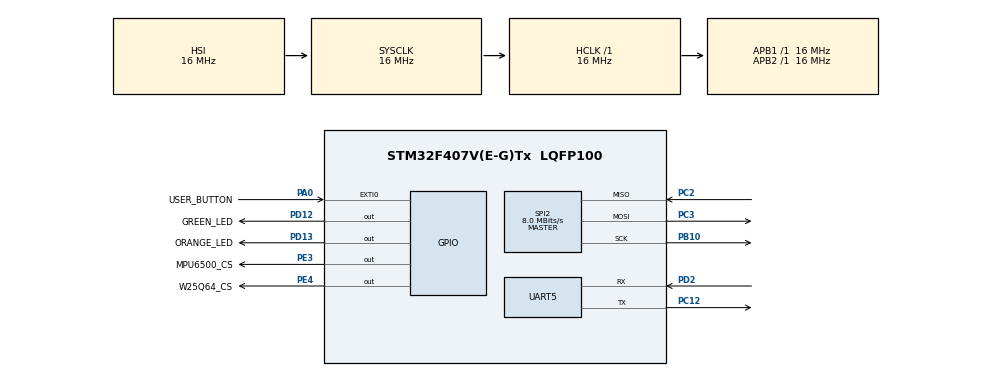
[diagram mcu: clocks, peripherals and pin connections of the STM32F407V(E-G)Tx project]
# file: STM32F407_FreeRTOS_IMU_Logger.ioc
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FREERTOS.Events01=systemHealthEvent,Dynamic,NULL
FREERTOS.Mutexes01=spiMutex,Dynamic,NULL,Available;uartMutex,Dynamic,NULL,Available
FREERTOS.Queues01=imuQueue,16,IMUData_t,0,Dynamic,NULL,NULL;loggerQueue,32,LoggerMessage_t,0,Dynamic,NULL,NULL
FREERTOS.Tasks01=heartbeatTask,8,128,StartHeartbeatTask,Default,NULL,Dynamic,NULL,NULL;imuTask,32,256,StartIMUTask,Default,NULL,Dynamic,NULL,NULL;printTask,24,256,StartPrintTask,Default,NULL,Dynamic,NULL,NULL;loggerTask,16,256,StartLoggerTask,Default,NULL,Dynamic,NULL,NULL;commandTask,24,256,StartCommandTask,Default,NULL,Dynamic,NULL,NULL;supervisorTask,40,256,StartSupervisorTask,Default,NULL,Dynamic,NULL,NULL
IWDG.Prescaler=IWDG_PRESCALER_256
IWDG.Reload=1249
Mcu.Family=STM32F4
Mcu.Name=STM32F407V(E-G)Tx
Mcu.Package=LQFP100
NVIC.EXTI0_IRQn=true\:5\:0\:false\:false\:true\:true\:true\:true\:true
NVIC.PriorityGroup=NVIC_PRIORITYGROUP_4
NVIC.SPI2_IRQn=true\:5\:0\:false\:false\:true\:true\:true\:true\:true
NVIC.TIM6_DAC_IRQn=true\:15\:0\:false\:false\:true\:false\:false\:true\:true
NVIC.TimeBase=TIM6_DAC_IRQn
NVIC.TimeBaseIP=TIM6
NVIC.UART5_IRQn=true\:5\:0\:false\:false\:true\:true\:true\:true\:true
PA0-WKUP.GPIO_Label=USER_BUTTON
PA0-WKUP.Signal=GPXTI0
PA13.Mode=Serial_Wire
PA13.Signal=SYS_JTMS-SWDIO
PA14.Mode=Serial_Wire
PA14.Signal=SYS_JTCK-SWCLK
PB10.Mode=Full_Duplex_Master
PB10.Signal=SPI2_SCK
PC12.Mode=Asynchronous
PC12.Signal=UART5_TX
PC2.Mode=Full_Duplex_Master
PC2.Signal=SPI2_MISO
PC3.Mode=Full_Duplex_Master
PC3.Signal=SPI2_MOSI
PD12.GPIO_Label=GREEN_LED
PD12.Signal=GPIO_Output
PD13.GPIO_Label=ORANGE_LED
PD13.Signal=GPIO_Output
PD2.Mode=Asynchronous
PD2.Signal=UART5_RX
PE3.GPIO_Label=MPU6500_CS
PE3.PinState=GPIO_PIN_SET
PE3.Signal=GPIO_Output
PE4.GPIO_Label=W25Q64_CS
PE4.PinState=GPIO_PIN_SET
PE4.Signal=GPIO_Output
ProjectManager.HeapSize=0x200
ProjectManager.StackSize=0x400
ProjectManager.TargetToolchain=MDK-ARM V5.32
RCC.AHBFreq_Value=16000000
RCC.APB1Freq_Value=16000000
RCC.APB2Freq_Value=16000000
RCC.CortexFreq_Value=16000000
RCC.HSE_VALUE=25000000
RCC.HSI_VALUE=16000000
RCC.LSE_VALUE=32768
RCC.SYSCLKFreq_VALUE=16000000
RCC.VCOOutputFreq_Value=192000000
SPI2.CLKPhase=SPI_PHASE_2EDGE
SPI2.CLKPolarity=SPI_POLARITY_HIGH
SPI2.CalculateBaudRate=8.0 MBits/s
SPI2.Direction=SPI_DIRECTION_2LINES
SPI2.Mode=SPI_MODE_MASTER
SPI2.VirtualType=VM_MASTER
UART5.VirtualMode=Asynchronous
VP_FREERTOS_VS_CMSIS_V2.Mode=CMSIS_V2
VP_IWDG_VS_IWDG.Mode=IWDG_Activate
VP_SYS_VS_tim6.Mode=TIM6
board=custom

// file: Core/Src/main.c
/* USER CODE BEGIN Header */
/**
  ******************************************************************************
  * @file           : main.c
  * @brief          : Main program body
  ******************************************************************************
  * @attention
  *
  * Copyright (c) 2026 STMicroelectronics.
  * All rights reserved.
  *
  * This software is licensed under terms that can be found in the LICENSE file
  * in the root directory of this software component.
  * If no LICENSE file comes with this software, it is provided AS-IS.
  *
  ******************************************************************************
  */
/* USER CODE END Header */
#include "main.h"
#include "cmsis_os.h"

/* USER CODE BEGIN Includes */
#include <stdio.h>
#include <string.h>
#include <stdlib.h>
/* USER CODE END Includes */

/* USER CODE BEGIN PTD */

typedef struct
{
  uint32_t sequence;
  uint32_t tick_ms;

  uint32_t print_dropped_total;
  uint32_t logger_dropped_total;
  uint32_t spi_error_total;

  int16_t accel_x;
  int16_t accel_y;
  int16_t accel_z;

} IMUData_t;

typedef enum
{
  LOGGER_MESSAGE_SAMPLE = 0,
  LOGGER_MESSAGE_DUMP,
  LOGGER_MESSAGE_CLEAR

} LoggerMessageType_t;

typedef struct
{
  LoggerMessageType_t type;

  union
  {
    IMUData_t sample;
    uint32_t dump_count;

  } payload;

} LoggerMessage_t;

typedef struct
{
  /* Magic number to distinguish valid data from erased flash memory. */
  uint32_t magic;

  uint32_t sequence;
  uint32_t tick_ms;

  uint32_t print_dropped_total;
  uint32_t logger_dropped_total;
  uint32_t spi_error_total;

  int16_t accel_x;
  int16_t accel_y;
  int16_t accel_z;

  /*
   * Padding to align struct to exactly 32 bytes.
   * Perfect fit for W25Q64_PAGE_SIZE: 256 Bytes / 32 Bytes = exactly 8 records per Page.
   */
  uint16_t reserved;

} FlashRecord_t;

/* USER CODE END PTD */

/* USER CODE BEGIN PD */

/* ====================================================================
 * W25Q64 Flash Hardware Specifications (From Datasheet)
 * - PAGE   : 256 Bytes (Maximum size for a single Write command)
 * - SECTOR : 4096 Bytes (Minimum size for a single Erase command)
 * ==================================================================== */
#define W25Q64_PAGE_SIZE              256U
#define W25Q64_SECTOR_SIZE            4096U

/* MPU6500 Registers & SPI */
#define WHO_AM_I_MPU6500              0x75
#define PWR_MGMT_1                    0x6B
#define ACCEL_XOUT_H                  0x3B
#define ACCEL_DATA_LEN                6U
#define ACCEL_SPI_LEN                 7U

#define MPU6500_CS_PORT               GPIOE
#define MPU6500_CS_PIN                GPIO_PIN_3

/* W25Q64 Commands & Status */
#define W25Q64_CMD_JEDEC_ID           0x9FU
#define W25Q64_CMD_WRITE_ENABLE       0x06U
#define W25Q64_CMD_READ_STATUS_1      0x05U
#define W25Q64_CMD_SECTOR_ERASE_4K    0x20U
#define W25Q64_CMD_PAGE_PROGRAM       0x02U
#define W25Q64_CMD_READ_DATA          0x03U

#define W25Q64_STATUS_BUSY            0x01U

/* W25Q64 Test Parameters */
#define W25Q64_TEST_ADDRESS           0x007FF000UL
#define W25Q64_TEST_DATA_LEN          8U

#define W25Q64_ERASE_TIMEOUT_MS       2000U
#define W25Q64_PROGRAM_TIMEOUT_MS     100U

/* ====================================================================
 * Logger System Configuration
 * ==================================================================== */
#define FLASH_RECORD_MAGIC            0x31554D49UL  /* "IMU1" */
#define FLASH_LOG_BASE_ADDRESS        0x000000UL    /* Start at Sector 0 */

/* 8-Sector test config: 8 * 4096 = 32KB total */
#define FLASH_LOG_SECTOR_COUNT        8U
#define FLASH_LOG_TOTAL_SIZE          (FLASH_LOG_SECTOR_COUNT * W25Q64_SECTOR_SIZE)

/* Max records: 32768 / 32 = 1024 records */
#define FLASH_LOG_MAX_RECORDS         (FLASH_LOG_TOTAL_SIZE / sizeof(FlashRecord_t))

/* Thread Flags for CommandTask */
#define COMMAND_BUTTON_FLAG           (1U << 0)  /* Event: PA0 physical button pressed */
#define COMMAND_UART_RX_FLAG          (1U << 1)  /* Event: UART command completely received */

/* Hardware & Buffer Settings */
#define BUTTON_DEBOUNCE_MS            200U       /* Button debounce time in milliseconds */
#define UART_COMMAND_BUFFER_SIZE      32U        /* Max character length for a UART command */

/* Task health flags */
#define HEALTH_IMU_FLAG          (1U << 0)
#define HEALTH_PRINT_FLAG        (1U << 1)
#define HEALTH_LOGGER_FLAG       (1U << 2)
#define HEALTH_COMMAND_FLAG      (1U << 3)
#define HEALTH_HEARTBEAT_FLAG    (1U << 4)

#define HEALTH_ALL_FLAGS         (HEALTH_IMU_FLAG | HEALTH_PRINT_FLAG | HEALTH_LOGGER_FLAG | HEALTH_COMMAND_FLAG | HEALTH_HEARTBEAT_FLAG)

#define TASK_IDLE_TIMEOUT_MS      500U
#define HEALTH_WAIT_TIMEOUT_MS    2500U

/* USER CODE END PD */

IWDG_HandleTypeDef hiwdg;

SPI_HandleTypeDef hspi2;

UART_HandleTypeDef huart5;

/* Definitions for heartbeatTask */
osThreadId_t heartbeatTaskHandle;
const osThreadAttr_t heartbeatTask_attributes = {
  .name = "heartbeatTask",
  .stack_size = 128 * 4,
  .priority = (osPriority_t) osPriorityLow,
};
/* Definitions for imuTask */
osThreadId_t imuTaskHandle;
const osThreadAttr_t imuTask_attributes = {
  .name = "imuTask",
  .stack_size = 256 * 4,
  .priority = (osPriority_t) osPriorityAboveNormal,
};
/* Definitions for printTask */
osThreadId_t printTaskHandle;
const osThreadAttr_t printTask_attributes = {
  .name = "printTask",
  .stack_size = 256 * 4,
  .priority = (osPriority_t) osPriorityNormal,
};
/* Definitions for loggerTask */
osThreadId_t loggerTaskHandle;
const osThreadAttr_t loggerTask_attributes = {
  .name = "loggerTask",
  .stack_size = 256 * 4,
  .priority = (osPriority_t) osPriorityBelowNormal,
};
/* Definitions for commandTask */
osThreadId_t commandTaskHandle;
const osThreadAttr_t commandTask_attributes = {
  .name = "commandTask",
  .stack_size = 256 * 4,
  .priority = (osPriority_t) osPriorityNormal,
};
/* Definitions for supervisorTask */
osThreadId_t supervisorTaskHandle;
const osThreadAttr_t supervisorTask_attributes = {
  .name = "supervisorTask",
  .stack_size = 256 * 4,
  .priority = (osPriority_t) osPriorityHigh,
};
/* Definitions for imuQueue */
osMessageQueueId_t imuQueueHandle;
const osMessageQueueAttr_t imuQueue_attributes = {
  .name = "imuQueue"
};
/* Definitions for loggerQueue */
osMessageQueueId_t loggerQueueHandle;
const osMessageQueueAttr_t loggerQueue_attributes = {
  .name = "loggerQueue"
};
/* Definitions for spiMutex */
osMutexId_t spiMutexHandle;
const osMutexAttr_t spiMutex_attributes = {
  .name = "spiMutex"
};
/* Definitions for uartMutex */
osMutexId_t uartMutexHandle;
const osMutexAttr_t uartMutex_attributes = {
  .name = "uartMutex"
};
/* Definitions for systemHealthEvent */
osEventFlagsId_t systemHealthEventHandle;
const osEventFlagsAttr_t systemHealthEvent_attributes = {
  .name = "systemHealthEvent"
};
/* USER CODE BEGIN PV */

static volatile uint8_t loggingEnabled = 0U;
static volatile uint8_t loggerReady = 0U;
static volatile uint8_t loggerFull = 0U;
static volatile uint8_t loggerBusy = 0U;
static volatile uint32_t loggerRecordCount = 0U;

static uint8_t uartRxByte = 0U;

static char uartCommandBuffer[UART_COMMAND_BUFFER_SIZE];

static volatile uint32_t uartCommandLength = 0U;
static volatile uint8_t uartCommandReady = 0U;

static uint8_t resetByIWDG = 0U;

static volatile uint8_t injectImuHealthFault = 0U;

/* USER CODE END PV */

void SystemClock_Config(void);
static void MX_GPIO_Init(void);
static void MX_SPI2_Init(void);
static void MX_UART5_Init(void);
static void MX_IWDG_Init(void);
void StartHeartbeatTask(void *argument);
void StartIMUTask(void *argument);
void StartPrintTask(void *argument);
void StartLoggerTask(void *argument);
void StartCommandTask(void *argument);
void StartSupervisorTask(void *argument);

/* USER CODE BEGIN 0 */
static HAL_StatusTypeDef SPI2_Lock(void)
{
  if (osMutexAcquire(spiMutexHandle, osWaitForever) == osOK)
  {
    return HAL_OK;
  }

  return HAL_ERROR;
}

static void SPI2_Unlock(void)
{
  osMutexRelease(spiMutexHandle);
}

static void UART_Print(const char *str)
{
  if (osMutexAcquire(uartMutexHandle, osWaitForever) == osOK)
  {
    HAL_UART_Transmit(&huart5, (uint8_t *)str, (uint16_t)strlen(str), 100);

    osMutexRelease(uartMutexHandle);
  }
}

static void MPU6500_CS_LOW(void)
{
  HAL_GPIO_WritePin(MPU6500_CS_PORT, MPU6500_CS_PIN, GPIO_PIN_RESET);
}

static void MPU6500_CS_HIGH(void)
{
  HAL_GPIO_WritePin(MPU6500_CS_PORT, MPU6500_CS_PIN, GPIO_PIN_SET);
}

static HAL_StatusTypeDef MPU6500_ReadReg(uint8_t reg, uint8_t *data)
{
  HAL_StatusTypeDef ret;
  uint8_t tx[2];
  uint8_t rx[2];

  tx[0] = reg | 0x80;   // read command
  tx[1] = 0x00;         // dummy byte

  if (SPI2_Lock() != HAL_OK)
  {
    return HAL_ERROR;
  }

  MPU6500_CS_LOW();
  ret = HAL_SPI_TransmitReceive(&hspi2, tx, rx, 2, 100);
  MPU6500_CS_HIGH();

  SPI2_Unlock();

  if (ret == HAL_OK)
  {
    *data = rx[1];
  }

  return ret;
}

static HAL_StatusTypeDef MPU6500_WriteReg(uint8_t reg, uint8_t data)
{
  HAL_StatusTypeDef ret;
  uint8_t tx[2];

  tx[0] = reg & 0x7F;   // write command
  tx[1] = data;

  if (SPI2_Lock() != HAL_OK)
  {
    return HAL_ERROR;
  }

  MPU6500_CS_LOW();
  ret = HAL_SPI_Transmit(&hspi2, tx, 2, 100);
  MPU6500_CS_HIGH();

  SPI2_Unlock();

  return ret;
}

static HAL_StatusTypeDef MPU6500_ReadAccel(int16_t *accelX, int16_t *accelY, int16_t *accelZ)
{
  HAL_StatusTypeDef status;

  uint8_t tx[ACCEL_SPI_LEN] = {0};
  uint8_t rx[ACCEL_SPI_LEN] = {0};

  tx[0] = ACCEL_XOUT_H | 0x80U;      // read

  if (SPI2_Lock() != HAL_OK)
  {
    return HAL_ERROR;
  }

  MPU6500_CS_LOW();
  status = HAL_SPI_TransmitReceive(&hspi2, tx, rx, ACCEL_SPI_LEN, 100);
  MPU6500_CS_HIGH();

  SPI2_Unlock();

  if (status == HAL_OK)
  {
    *accelX = (int16_t)(((uint16_t)rx[1] << 8) | rx[2]);

    *accelY = (int16_t)(((uint16_t)rx[3] << 8) | rx[4]);

    *accelZ = (int16_t)(((uint16_t)rx[5] << 8) | rx[6]);
  }

  return status;
}

static void W25Q64_CS_LOW(void)
{
  HAL_GPIO_WritePin(W25Q64_CS_GPIO_Port, W25Q64_CS_Pin, GPIO_PIN_RESET);
}

static void W25Q64_CS_HIGH(void)
{
  HAL_GPIO_WritePin(W25Q64_CS_GPIO_Port, W25Q64_CS_Pin, GPIO_PIN_SET);
}

static HAL_StatusTypeDef W25Q64_ReadJEDECID(uint8_t *manufacturer, uint8_t *memoryType, uint8_t *capacity)
{
  HAL_StatusTypeDef status;

  uint8_t tx[4] = {W25Q64_CMD_JEDEC_ID, 0x00U, 0x00U, 0x00U};

  uint8_t rx[4] = {0};

  if (SPI2_Lock() != HAL_OK)
  {
    return HAL_ERROR;
  }

  W25Q64_CS_LOW();
  status = HAL_SPI_TransmitReceive(&hspi2, tx, rx, sizeof(tx), 100);
  W25Q64_CS_HIGH();

  SPI2_Unlock();

  if (status == HAL_OK)
  {
    /*
     * rx[0] is received while sending the command.
     * Valid JEDEC ID bytes start from rx[1].
     */
    *manufacturer = rx[1];
    *memoryType   = rx[2];
    *capacity     = rx[3];
  }

  return status;
}

// Write Enable
static HAL_StatusTypeDef W25Q64_WriteEnable_NoLock(void)
{
  HAL_StatusTypeDef status;
  uint8_t command = W25Q64_CMD_WRITE_ENABLE;

  W25Q64_CS_LOW();

  status = HAL_SPI_Transmit(&hspi2, &command, 1, 100);

  W25Q64_CS_HIGH();

  return status;
}

// Read Status Register-1
static HAL_StatusTypeDef W25Q64_ReadStatus1(uint8_t *statusRegister)
{
  HAL_StatusTypeDef status;

  uint8_t tx[2] = {W25Q64_CMD_READ_STATUS_1, 0x00U};

  uint8_t rx[2] = {0};

  if (SPI2_Lock() != HAL_OK)
  {
    return HAL_ERROR;
  }

  W25Q64_CS_LOW();

  status = HAL_SPI_TransmitReceive(&hspi2, tx, rx, 2, 100);

  W25Q64_CS_HIGH();

  SPI2_Unlock();

  if (status == HAL_OK)
  {
    *statusRegister = rx[1];
  }

  return status;
}

// Wait While Busy
static HAL_StatusTypeDef W25Q64_WaitWhileBusy(uint32_t timeoutMs)
{
  HAL_StatusTypeDef status;
  uint8_t statusRegister = 0;

  uint32_t startTick = osKernelGetTickCount();

  for (;;)
  {
    status = W25Q64_ReadStatus1(&statusRegister);

    if (status != HAL_OK)
    {
      return status;
    }

    if ((statusRegister & W25Q64_STATUS_BUSY) == 0U)
    {
      return HAL_OK;
    }

    if ((osKernelGetTickCount() - startTick) >= timeoutMs)
    {
      return HAL_TIMEOUT;
    }

    /*
     * Let other tasks run while Flash is busy.
     */
    osDelay(1U);
  }
}

// Sector Erase
static HAL_StatusTypeDef W25Q64_EraseSector4K(uint32_t address)
{
  HAL_StatusTypeDef status;

  uint8_t command[4] = {W25Q64_CMD_SECTOR_ERASE_4K, (uint8_t)(address >> 16), (uint8_t)(address >> 8), (uint8_t)address};

  if (SPI2_Lock() != HAL_OK)
  {
    return HAL_ERROR;
  }

  /*
   * Keep the bus locked between
   * Write Enable and Sector Erase.
   */
  status = W25Q64_WriteEnable_NoLock();

  if (status == HAL_OK)
  {
    W25Q64_CS_LOW();

    status = HAL_SPI_Transmit(&hspi2, command, sizeof(command), 100);

    W25Q64_CS_HIGH();
  }

  SPI2_Unlock();

  if (status == HAL_OK)
  {
    status = W25Q64_WaitWhileBusy(W25Q64_ERASE_TIMEOUT_MS);
  }

  return status;
}

//Page Program
static HAL_StatusTypeDef W25Q64_PageProgram(uint32_t address, const uint8_t *data, uint16_t length)
{
  HAL_StatusTypeDef status;

  uint8_t command[4] = {W25Q64_CMD_PAGE_PROGRAM, (uint8_t)(address >> 16), (uint8_t)(address >> 8), (uint8_t)address};

  if ((length == 0U) || (length > 256U))
  {
    return HAL_ERROR;
  }

  /*
   * Data must stay inside one page.
   */
  if (((address & 0xFFU) + length) > 256U)
  {
    return HAL_ERROR;
  }

  if (SPI2_Lock() != HAL_OK)
  {
    return HAL_ERROR;
  }

  status = W25Q64_WriteEnable_NoLock();

  if (status == HAL_OK)
  {
    W25Q64_CS_LOW();

    status = HAL_SPI_Transmit(&hspi2, command, sizeof(command), 100);

    if (status == HAL_OK)
    {
      status = HAL_SPI_Transmit(&hspi2, (uint8_t *)data, length, 100);
    }

    W25Q64_CS_HIGH();
  }

  SPI2_Unlock();

  if (status == HAL_OK)
  {
    status = W25Q64_WaitWhileBusy(W25Q64_PROGRAM_TIMEOUT_MS);
  }

  return status;
}

// Read Data
static HAL_StatusTypeDef W25Q64_ReadData(uint32_t address, uint8_t *data, uint16_t length)
{
  HAL_StatusTypeDef status;

  uint8_t command[4] = {W25Q64_CMD_READ_DATA, (uint8_t)(address >> 16), (uint8_t)(address >> 8), (uint8_t)address};

  if (SPI2_Lock() != HAL_OK)
  {
    return HAL_ERROR;
  }

  W25Q64_CS_LOW();

  status = HAL_SPI_Transmit(&hspi2, command, sizeof(command), 100);

  if (status == HAL_OK)
  {
    status = HAL_SPI_Receive(&hspi2, data, length, 100);
  }

  W25Q64_CS_HIGH();

  SPI2_Unlock();

  return status;
}

// Erase the complete logger region
static HAL_StatusTypeDef Logger_EraseLogRegion(void)
{
  HAL_StatusTypeDef status;

  uint32_t sectorIndex;
  uint32_t sectorAddress;

  for (sectorIndex = 0U; sectorIndex < FLASH_LOG_SECTOR_COUNT; sectorIndex++)
  {
    sectorAddress = FLASH_LOG_BASE_ADDRESS + (sectorIndex * W25Q64_SECTOR_SIZE);

    status = W25Q64_EraseSector4K(sectorAddress);

    /*
     * Report progress during erase.
     */
    osEventFlagsSet(systemHealthEventHandle, HEALTH_LOGGER_FLAG);

    if (status != HAL_OK)
    {
      return status;
    }
  }

  return HAL_OK;
}

// DumpLatestRecords
static void Logger_DumpLatestRecords(uint32_t requestedCount)
{
  FlashRecord_t record;

  HAL_StatusTypeDef status;

  uint32_t totalRecords;
  uint32_t dumpCount;
  uint32_t startIndex;
  uint32_t recordIndex;
  uint32_t address;

  int32_t accelX_mg;
  int32_t accelY_mg;
  int32_t accelZ_mg;

  char message[192];

  totalRecords = loggerRecordCount;

  if (totalRecords == 0U)
  {
    UART_Print("No records to dump.\r\n");
    return;
  }

  dumpCount = requestedCount;

  if (dumpCount > totalRecords)
  {
    dumpCount = totalRecords;
  }

  startIndex = totalRecords - dumpCount;

  snprintf(message, sizeof(message), "Dump last %lu records:\r\n", (unsigned long)dumpCount);

  UART_Print(message);

  for (recordIndex = startIndex; recordIndex < totalRecords; recordIndex++)
  {
    address = FLASH_LOG_BASE_ADDRESS + (recordIndex * sizeof(FlashRecord_t));

    status = W25Q64_ReadData(address, (uint8_t *)&record, sizeof(record));

    if (status != HAL_OK)
    {
      UART_Print("Flash dump read failed.\r\n");

      return;
    }

    if (record.magic != FLASH_RECORD_MAGIC)
    {
      snprintf(message, sizeof(message), "LOG[%lu] invalid magic\r\n", (unsigned long)recordIndex);

      UART_Print(message);
      return;
    }

    accelX_mg = ((int32_t)record.accel_x * 1000L) / 16384L;

    accelY_mg = ((int32_t)record.accel_y * 1000L) / 16384L;

    accelZ_mg = ((int32_t)record.accel_z * 1000L) / 16384L;

    snprintf(message, sizeof(message), "LOG[%lu] SEQ=%lu, T=%lu, AX=%ld, AY=%ld, AZ=%ld\r\n", (unsigned long)recordIndex, (unsigned long)record.sequence, (unsigned long)record.tick_ms, (long)accelX_mg, (long)accelY_mg, (long)accelZ_mg);

    UART_Print(message);

    osEventFlagsSet(systemHealthEventHandle, HEALTH_LOGGER_FLAG);
  }

  UART_Print("Dump complete.\r\n");
}

// Command Start
static void Command_StartLogging(void)
{
  char message[96];

  if (loggerBusy != 0U)
  {
    UART_Print("Logger is busy.\r\n");
  }
  else if (loggerReady == 0U)
  {
    UART_Print("Logger is not ready.\r\n");
  }
  else if (loggerFull != 0U)
  {
    snprintf(message, sizeof(message), "Logger is full. Records=%lu\r\n", (unsigned long)loggerRecordCount);

    UART_Print(message);
  }
  else if (loggingEnabled != 0U)
  {
    UART_Print("Logging is already running.\r\n");
  }
  else
  {
    loggingEnabled = 1U;

    UART_Print("Logging started.\r\n");
  }
}

// Command Stop
static void Command_StopLogging(void)
{
  char message[96];

  if (loggingEnabled == 0U)
  {
    UART_Print("Logging is already stopped.\r\n");
  }
  else
  {
    loggingEnabled = 0U;

    snprintf(message, sizeof(message), "Logging stopped. Records=%lu\r\n", (unsigned long)loggerRecordCount);

    UART_Print(message);
  }
}

// PA0(Button) Toggle
static void Command_ToggleLogging(void)
{
  if (loggingEnabled == 0U)
  {
    Command_StartLogging();
  }
  else
  {
    Command_StopLogging();
  }
}

// Command Status
static void Command_PrintStatus(void)
{
  char message[192];

  uint32_t imuQueueCount;
  uint32_t loggerQueueCount;

  imuQueueCount = osMessageQueueGetCount(imuQueueHandle);

  loggerQueueCount = osMessageQueueGetCount(loggerQueueHandle);

  snprintf(message, sizeof(message), "[STATUS] ready=%u, busy=%u, logging=%u, full=%u, records=%lu/%lu, imuQ=%lu, loggerQ=%lu\r\n", (unsigned int)loggerReady, (unsigned int)loggerBusy, (unsigned int)loggingEnabled, (unsigned int)loggerFull, (unsigned long)loggerRecordCount, (unsigned long)FLASH_LOG_MAX_RECORDS, (unsigned long)imuQueueCount, (unsigned long)loggerQueueCount);

  UART_Print(message);
}

// Command Dump
static void Command_RequestDump(uint32_t count)
{
  LoggerMessage_t loggerMessage = {0};

  if (loggerBusy != 0U)
  {
    UART_Print("Logger is busy.\r\n");
    return;
  }

  if (loggerReady == 0U)
  {
    UART_Print("Logger is not ready.\r\n");
    return;
  }

  if (loggingEnabled != 0U)
  {
    UART_Print("Stop logging before dump.\r\n");

    return;
  }

  if ((count == 0U) || (count > 50U))
  {
    UART_Print("Dump count must be 1 to 50.\r\n");

    return;
  }

  loggerMessage.type = LOGGER_MESSAGE_DUMP;

  loggerMessage.payload.dump_count = count;

  if (osMessageQueuePut(loggerQueueHandle, &loggerMessage, 0U, osWaitForever) == osOK)
  {
    UART_Print("Dump requested.\r\n");
  }
  else
  {
    UART_Print("Dump request failed.\r\n");
  }
}

// Command Clear
static void Command_RequestClear(void)
{
  LoggerMessage_t loggerMessage = {0};

  if (loggerBusy != 0U)
  {
    UART_Print("Logger is busy.\r\n");
    return;
  }

  if (loggerReady == 0U)
  {
    UART_Print("Logger is not ready.\r\n");
    return;
  }

  if (loggingEnabled != 0U)
  {
    UART_Print("Stop logging before clear.\r\n");

    return;
  }

  /*
   * Block new start and dump commands.
   */
  loggerBusy = 1U;
  loggerReady = 0U;

  loggerMessage.type = LOGGER_MESSAGE_CLEAR;

  if (osMessageQueuePut(loggerQueueHandle, &loggerMessage, 0U, osWaitForever) == osOK)
  {
    UART_Print("Clear requested.\r\n");
  }
  else
  {
    loggerBusy = 0U;
    loggerReady = 1U;

    UART_Print("Clear request failed.\r\n");
  }
}

// Command ImuFault
static void Command_InjectImuFault(void)
{
  if (injectImuHealthFault != 0U)
  {
    UART_Print("IMU health fault is already active.\r\n");

    return;
  }

  injectImuHealthFault = 1U;

  UART_Print("Fault injected: IMU health report disabled.\r\n");
}

// Command
static void Command_ProcessLine(const char *command)
{
  if (strcmp(command, "start") == 0)
  {
    Command_StartLogging();
  }
  else if (strcmp(command, "stop") == 0)
  {
    Command_StopLogging();
  }
  else if (strcmp(command, "status") == 0)
  {
    Command_PrintStatus();
  }
  else if (strcmp(command, "help") == 0)
  {
    UART_Print("Commands: start, stop, status, dump N, clear, fault imu, help\r\n");
  }
  else if (strcmp(command, "clear") == 0)
  {
    Command_RequestClear();
  }
  else if (strcmp(command, "fault imu") == 0)
  {
    Command_InjectImuFault();
  }
  else if (strncmp(command, "dump ", 5U) == 0)
  {
    char *endPointer;
    unsigned long count;

    count = strtoul(command + 5, &endPointer, 10);

    if ((*endPointer == '\0') && (count >= 1UL) && (count <= 50UL))
    {
      Command_RequestDump((uint32_t)count);
    }
    else
    {
      UART_Print("Usage: dump N, N=1..50\r\n");
    }
  }
  else
  {
    UART_Print("Unknown command. Type help.\r\n");
  }
}

/* USER CODE END 0 */

int main(void)
{

  /* MCU Configuration--------------------------------------------------------*/

  /* Reset of all peripherals, Initializes the Flash interface and the Systick. */
  HAL_Init();

  /* USER CODE BEGIN Init */
  if (__HAL_RCC_GET_FLAG(RCC_FLAG_IWDGRST) != RESET)
  {
    resetByIWDG = 1U;
  }

  __HAL_RCC_CLEAR_RESET_FLAGS();

  /* USER CODE END Init */

  /* Configure the system clock */
  SystemClock_Config();

  /* Initialize all configured peripherals */
  MX_GPIO_Init();
  MX_SPI2_Init();
  MX_UART5_Init();
  MX_IWDG_Init();

  /* Init scheduler */
  osKernelInitialize();
  /* Create the mutex(es) */
  /* creation of spiMutex */
  spiMutexHandle = osMutexNew(&spiMutex_attributes);

  /* creation of uartMutex */
  uartMutexHandle = osMutexNew(&uartMutex_attributes);

  /* Create the queue(s) */
  /* creation of imuQueue */
  imuQueueHandle = osMessageQueueNew (16, sizeof(IMUData_t), &imuQueue_attributes);

  /* creation of loggerQueue */
  loggerQueueHandle = osMessageQueueNew (32, sizeof(LoggerMessage_t), &loggerQueue_attributes);

  /* Create the thread(s) */
  /* creation of heartbeatTask */
  heartbeatTaskHandle = osThreadNew(StartHeartbeatTask, NULL, &heartbeatTask_attributes);

  /* creation of imuTask */
  imuTaskHandle = osThreadNew(StartIMUTask, NULL, &imuTask_attributes);

  /* creation of printTask */
  printTaskHandle = osThreadNew(StartPrintTask, NULL, &printTask_attributes);

  /* creation of loggerTask */
  loggerTaskHandle = osThreadNew(StartLoggerTask, NULL, &loggerTask_attributes);

  /* creation of commandTask */
  commandTaskHandle = osThreadNew(StartCommandTask, NULL, &commandTask_attributes);

  /* creation of supervisorTask */
  supervisorTaskHandle = osThreadNew(StartSupervisorTask, NULL, &supervisorTask_attributes);

  /* creation of systemHealthEvent */
  systemHealthEventHandle = osEventFlagsNew(&systemHealthEvent_attributes);

  /* Start scheduler */
  osKernelStart();

  /* We should never get here as control is now taken by the scheduler */

  /* Infinite loop */
  while (1)
  {

  }
}

void SystemClock_Config(void)
{
  RCC_OscInitTypeDef RCC_OscInitStruct = {0};
  RCC_ClkInitTypeDef RCC_ClkInitStruct = {0};

  /** Configure the main internal regulator output voltage
  */
  __HAL_RCC_PWR_CLK_ENABLE();
  __HAL_PWR_VOLTAGESCALING_CONFIG(PWR_REGULATOR_VOLTAGE_SCALE1);

  /** Initializes the RCC Oscillators according to the specified parameters
  * in the RCC_OscInitTypeDef structure.
  */
  RCC_OscInitStruct.OscillatorType = RCC_OSCILLATORTYPE_HSI|RCC_OSCILLATORTYPE_LSI;
  RCC_OscInitStruct.HSIState = RCC_HSI_ON;
  RCC_OscInitStruct.HSICalibrationValue = RCC_HSICALIBRATION_DEFAULT;
  RCC_OscInitStruct.LSIState = RCC_LSI_ON;
  RCC_OscInitStruct.PLL.PLLState = RCC_PLL_NONE;
  if (HAL_RCC_OscConfig(&RCC_OscInitStruct) != HAL_OK)
  {
    Error_Handler();
  }

  /** Initializes the CPU, AHB and APB buses clocks
  */
  RCC_ClkInitStruct.ClockType = RCC_CLOCKTYPE_HCLK|RCC_CLOCKTYPE_SYSCLK
                              |RCC_CLOCKTYPE_PCLK1|RCC_CLOCKTYPE_PCLK2;
  RCC_ClkInitStruct.SYSCLKSource = RCC_SYSCLKSOURCE_HSI;
  RCC_ClkInitStruct.AHBCLKDivider = RCC_SYSCLK_DIV1;
  RCC_ClkInitStruct.APB1CLKDivider = RCC_HCLK_DIV1;
  RCC_ClkInitStruct.APB2CLKDivider = RCC_HCLK_DIV1;

  if (HAL_RCC_ClockConfig(&RCC_ClkInitStruct, FLASH_LATENCY_0) != HAL_OK)
  {
    Error_Handler();
  }
}

static void MX_IWDG_Init(void)
{

  hiwdg.Instance = IWDG;
  hiwdg.Init.Prescaler = IWDG_PRESCALER_256;
  hiwdg.Init.Reload = 1249;
  if (HAL_IWDG_Init(&hiwdg) != HAL_OK)
  {
    Error_Handler();
  }

}

static void MX_SPI2_Init(void)
{

  /* SPI2 parameter configuration*/
  hspi2.Instance = SPI2;
  hspi2.Init.Mode = SPI_MODE_MASTER;
  hspi2.Init.Direction = SPI_DIRECTION_2LINES;
  hspi2.Init.DataSize = SPI_DATASIZE_8BIT;
  hspi2.Init.CLKPolarity = SPI_POLARITY_HIGH;
  hspi2.Init.CLKPhase = SPI_PHASE_2EDGE;
  hspi2.Init.NSS = SPI_NSS_SOFT;
  hspi2.Init.BaudRatePrescaler = SPI_BAUDRATEPRESCALER_2;
  hspi2.Init.FirstBit = SPI_FIRSTBIT_MSB;
  hspi2.Init.TIMode = SPI_TIMODE_DISABLE;
  hspi2.Init.CRCCalculation = SPI_CRCCALCULATION_DISABLE;
  hspi2.Init.CRCPolynomial = 10;
  if (HAL_SPI_Init(&hspi2) != HAL_OK)
  {
    Error_Handler();
  }

}

static void MX_UART5_Init(void)
{

  huart5.Instance = UART5;
  huart5.Init.BaudRate = 115200;
  huart5.Init.WordLength = UART_WORDLENGTH_8B;
  huart5.Init.StopBits = UART_STOPBITS_1;
  huart5.Init.Parity = UART_PARITY_NONE;
  huart5.Init.Mode = UART_MODE_TX_RX;
  huart5.Init.HwFlowCtl = UART_HWCONTROL_NONE;
  huart5.Init.OverSampling = UART_OVERSAMPLING_16;
  if (HAL_UART_Init(&huart5) != HAL_OK)
  {
    Error_Handler();
  }

}

static void MX_GPIO_Init(void)
{
  GPIO_InitTypeDef GPIO_InitStruct = {0};

  /* GPIO Ports Clock Enable */
  __HAL_RCC_GPIOE_CLK_ENABLE();
  __HAL_RCC_GPIOC_CLK_ENABLE();
  __HAL_RCC_GPIOA_CLK_ENABLE();
  __HAL_RCC_GPIOB_CLK_ENABLE();
  __HAL_RCC_GPIOD_CLK_ENABLE();

  /*Configure GPIO pin Output Level */
  HAL_GPIO_WritePin(GPIOE, MPU6500_CS_Pin|W25Q64_CS_Pin, GPIO_PIN_SET);

  /*Configure GPIO pin Output Level */
  HAL_GPIO_WritePin(GPIOD, GREEN_LED_Pin|ORANGE_LED_Pin, GPIO_PIN_RESET);

  /*Configure GPIO pins : MPU6500_CS_Pin W25Q64_CS_Pin */
  GPIO_InitStruct.Pin = MPU6500_CS_Pin|W25Q64_CS_Pin;
  GPIO_InitStruct.Mode = GPIO_MODE_OUTPUT_PP;
  GPIO_InitStruct.Pull = GPIO_NOPULL;
  GPIO_InitStruct.Speed = GPIO_SPEED_FREQ_LOW;
  HAL_GPIO_Init(GPIOE, &GPIO_InitStruct);

  /*Configure GPIO pin : USER_BUTTON_Pin */
  GPIO_InitStruct.Pin = USER_BUTTON_Pin;
  GPIO_InitStruct.Mode = GPIO_MODE_IT_RISING;
  GPIO_InitStruct.Pull = GPIO_NOPULL;
  HAL_GPIO_Init(USER_BUTTON_GPIO_Port, &GPIO_InitStruct);

  /*Configure GPIO pins : GREEN_LED_Pin ORANGE_LED_Pin */
  GPIO_InitStruct.Pin = GREEN_LED_Pin|ORANGE_LED_Pin;
  GPIO_InitStruct.Mode = GPIO_MODE_OUTPUT_PP;
  GPIO_InitStruct.Pull = GPIO_NOPULL;
  GPIO_InitStruct.Speed = GPIO_SPEED_FREQ_LOW;
  HAL_GPIO_Init(GPIOD, &GPIO_InitStruct);

  /* EXTI interrupt init*/
  HAL_NVIC_SetPriority(EXTI0_IRQn, 5, 0);
  HAL_NVIC_EnableIRQ(EXTI0_IRQn);

}

/* USER CODE BEGIN 4 */
void HAL_GPIO_EXTI_Callback(uint16_t GPIO_Pin)
{
  static uint32_t lastButtonTick = 0U;
  uint32_t currentTick;

  if (GPIO_Pin == USER_BUTTON_Pin)
  {
    currentTick = HAL_GetTick();

    if ((currentTick - lastButtonTick) >= BUTTON_DEBOUNCE_MS)
    {
      lastButtonTick = currentTick;

      if (commandTaskHandle != NULL)
      {
        osThreadFlagsSet(commandTaskHandle, COMMAND_BUTTON_FLAG);
      }
    }
  }
}

void HAL_UART_RxCpltCallback(UART_HandleTypeDef *huart)
{
  if (huart->Instance == UART5)
  {
    /*
     * Do not overwrite a pending command.
     */
    if (uartCommandReady == 0U)
    {
      if ((uartRxByte == '\r') || (uartRxByte == '\n'))
      {
        if (uartCommandLength > 0U)
        {
          uartCommandBuffer[uartCommandLength] = '\0';

          uartCommandReady = 1U;

          if (commandTaskHandle != NULL)
          {
            osThreadFlagsSet(commandTaskHandle, COMMAND_UART_RX_FLAG);
          }
        }
      }
      else
      {
        if (uartCommandLength <(UART_COMMAND_BUFFER_SIZE - 1U))
        {
          uartCommandBuffer[uartCommandLength] = (char)uartRxByte;

          uartCommandLength++;
        }
        else
        {
          /*
           * Reset an oversized command.
           */
          uartCommandLength = 0U;
        }
      }
    }

    /*
     * Receive the next byte.
     */
    HAL_UART_Receive_IT(&huart5, &uartRxByte, 1U);
  }
}
/* USER CODE END 4 */

void StartHeartbeatTask(void *argument)
{
  /* USER CODE BEGIN 5 */
  /* Infinite loop */
  for (;;)
  {
    HAL_GPIO_TogglePin(GREEN_LED_GPIO_Port, GREEN_LED_Pin);

    /* Report task health. */
    osEventFlagsSet(systemHealthEventHandle, HEALTH_HEARTBEAT_FLAG);

    osDelay(500);
  }
  /* USER CODE END 5 */
}

void StartIMUTask(void *argument)
{
  /* USER CODE BEGIN StartIMUTask */
  /* Infinite loop */
  uint8_t readData = 0;
  HAL_StatusTypeDef status;
  char message[96];
  int messageLength;

  MPU6500_CS_HIGH();

  osDelay(100);

  /* 1. Read WHO_AM_I */
  status = MPU6500_ReadReg(WHO_AM_I_MPU6500, &readData);

  if (status == HAL_OK)
  {
    messageLength = snprintf(message, sizeof(message), "\r\nWHO_AM_I = 0x%02X\r\n",readData);

    UART_Print(message);

    if (readData == 0x70)
    {
      UART_Print("MPU6500 detected.\r\n");
    }
    else
    {
      UART_Print("WHO_AM_I is not 0x70.\r\n");
    }
  }
  else
  {
    UART_Print("Read WHO_AM_I failed.\r\n");
  }

  /* 2. Wake up MPU6500 */
  status = MPU6500_WriteReg(PWR_MGMT_1, 0x00);

  if (status == HAL_OK)
  {
    UART_Print("Write PWR_MGMT_1 success.\r\n");
  }
  else
  {
    UART_Print("Write PWR_MGMT_1 failed.\r\n");
  }

  osDelay(100);

  /* 3. Read back PWR_MGMT_1 */
  status = MPU6500_ReadReg(PWR_MGMT_1,&readData);

  if (status == HAL_OK)
  {
    messageLength = snprintf(message, sizeof(message), "PWR_MGMT_1 = 0x%02X\r\n\r\n", readData);

    UART_Print(message);
  }

  int16_t accelX = 0;
  int16_t accelY = 0;
  int16_t accelZ = 0;

  uint32_t nextWakeTick;

  uint32_t sequence = 0;
  uint32_t printDroppedCount = 0;
  uint32_t loggerDroppedCount = 0;
  uint32_t spiErrorCount = 0;

  IMUData_t imuData = {0};
  LoggerMessage_t loggerMessage = {0};

  /* Start the fixed sampling period. */
  nextWakeTick = osKernelGetTickCount();

  for (;;)
  {
    status = MPU6500_ReadAccel(&accelX, &accelY, &accelZ);

    if (status == HAL_OK)
    {
      sequence++;

      imuData.sequence = sequence;
      imuData.tick_ms = osKernelGetTickCount();

      imuData.print_dropped_total = printDroppedCount;

      imuData.logger_dropped_total = loggerDroppedCount;

      imuData.spi_error_total = spiErrorCount;

      imuData.accel_x = accelX;
      imuData.accel_y = accelY;
      imuData.accel_z = accelZ;

      /*
       * Send data to PrintTask.
       */
      if (osMessageQueuePut(imuQueueHandle, &imuData, 0U, 0U) != osOK)
      {
        printDroppedCount++;
      }

      /*
       * Send data to LoggerTask.
       */
      if (loggingEnabled != 0U)
      {
        loggerMessage.type = LOGGER_MESSAGE_SAMPLE;

        loggerMessage.payload.sample = imuData;

        if (osMessageQueuePut(loggerQueueHandle, &loggerMessage, 0U, 0U) != osOK)
        {
          loggerDroppedCount++;
        }
      }
    }
    else
    {
      spiErrorCount++;
    }

    /* Report task health unless fault is injected. */
    if (injectImuHealthFault == 0U)
    {
      osEventFlagsSet(systemHealthEventHandle, HEALTH_IMU_FLAG);
    }

    /* Run at 50 Hz. */
    nextWakeTick += 20U;
    osDelayUntil(nextWakeTick);
  }
  /* USER CODE END StartIMUTask */
}

void StartPrintTask(void *argument)
{
  /* USER CODE BEGIN StartPrintTask */
  /* Infinite loop */
  osStatus_t queueStatus;

  IMUData_t imuData;

  uint32_t receivedCount = 0;

  int32_t accelX_mg;
  int32_t accelY_mg;
  int32_t accelZ_mg;

  char message[160];
  int messageLength;

  for (;;)
  {
    queueStatus = osMessageQueueGet(imuQueueHandle, &imuData, NULL, TASK_IDLE_TIMEOUT_MS);

    /* Report task health. */
    osEventFlagsSet(systemHealthEventHandle, HEALTH_PRINT_FLAG);

    if (queueStatus == osOK)
    {
      receivedCount++;

      /*
       * Consume every sample, but print every 25 samples.
       */
      if (receivedCount >= 25U)
      {
        receivedCount = 0;

        accelX_mg = ((int32_t)imuData.accel_x * 1000L) / 16384L;

        accelY_mg = ((int32_t)imuData.accel_y * 1000L) / 16384L;

        accelZ_mg = ((int32_t)imuData.accel_z * 1000L) / 16384L;

        messageLength = snprintf(message, sizeof(message), "SEQ=%lu, T=%lu ms, AX=%ld mg, AY=%ld mg, AZ=%ld mg, PDROP=%lu, LDROP=%lu, SPIERR=%lu\r\n", (unsigned long)imuData.sequence, (unsigned long)imuData.tick_ms, (long)accelX_mg, (long)accelY_mg, (long)accelZ_mg, (unsigned long)imuData.print_dropped_total, (unsigned long)imuData.logger_dropped_total, (unsigned long)imuData.spi_error_total);

        UART_Print(message);

        HAL_GPIO_TogglePin(ORANGE_LED_GPIO_Port, ORANGE_LED_Pin);
      }
    }
  }
  /* USER CODE END StartPrintTask */
}

void StartLoggerTask(void *argument)
{
  /* USER CODE BEGIN StartLoggerTask */
  /* Infinite loop */
  osStatus_t queueStatus;

  LoggerMessage_t loggerMessage;
  IMUData_t imuData;

  FlashRecord_t record;
  FlashRecord_t firstRecord = {0};
  FlashRecord_t lastRecord = {0};

  HAL_StatusTypeDef status;

  uint32_t writeAddress = FLASH_LOG_BASE_ADDRESS;

  uint32_t lastWrittenSequence = 0;

  char message[160];

  UART_Print("Logger erase started.\r\n");

  loggerBusy = 1U;

  status = Logger_EraseLogRegion();

  loggerBusy = 0U;

  if (status != HAL_OK)
  {
    loggingEnabled = 0U;
    loggerReady = 0U;

    UART_Print("Logger sector erase failed.\r\n");

    osThreadExit();
  }

  UART_Print("Logger erase success.\r\n");

  /*
   * Prepare the logger and wait for a start command.
   */
  osMessageQueueReset(loggerQueueHandle);

  loggingEnabled = 0U;
  loggerReady = 1U;
  loggerFull = 0U;
  loggerRecordCount = 0U;

  UART_Print("Logger ready. Press PA0 to start.\r\n\r\n");

  for (;;)
  {
    queueStatus = osMessageQueueGet(loggerQueueHandle, &loggerMessage, NULL, TASK_IDLE_TIMEOUT_MS);

    /* Report task health. */
    osEventFlagsSet(systemHealthEventHandle, HEALTH_LOGGER_FLAG);

    if (queueStatus != osOK)
    {
      continue;
    }

    if (loggerMessage.type == LOGGER_MESSAGE_SAMPLE)
    {
      imuData = loggerMessage.payload.sample;

      if (loggerRecordCount >= FLASH_LOG_MAX_RECORDS)
      {
        continue;
      }

      memset(&record, 0, sizeof(record));

      record.magic = FLASH_RECORD_MAGIC;

      record.sequence = imuData.sequence;

      record.tick_ms = imuData.tick_ms;

      record.print_dropped_total = imuData.print_dropped_total;

      record.logger_dropped_total = imuData.logger_dropped_total;

      record.spi_error_total = imuData.spi_error_total;

      record.accel_x = imuData.accel_x;

      record.accel_y = imuData.accel_y;

      record.accel_z = imuData.accel_z;

      status = W25Q64_PageProgram(writeAddress, (const uint8_t *)&record, sizeof(record));

      if (status != HAL_OK)
      {
        loggingEnabled = 0U;
        loggerReady = 0U;

        UART_Print("Logger write failed.\r\n");

        continue;
      }

      lastWrittenSequence = record.sequence;

      loggerRecordCount++;

      writeAddress += sizeof(FlashRecord_t);

      if (loggerRecordCount == FLASH_LOG_MAX_RECORDS)
      {
        loggingEnabled = 0U;
        loggerFull = 1U;

        UART_Print("Logger write complete.\r\n");

        status = W25Q64_ReadData(FLASH_LOG_BASE_ADDRESS, (uint8_t *)&firstRecord, sizeof(firstRecord));

        if (status != HAL_OK)
        {
          UART_Print("Read first record failed.\r\n");

          osThreadExit();
        }

        status = W25Q64_ReadData(FLASH_LOG_BASE_ADDRESS + ((loggerRecordCount - 1U) * sizeof(FlashRecord_t)), (uint8_t *)&lastRecord, sizeof(lastRecord));

        if (status != HAL_OK)
        {
          UART_Print("Read last record failed.\r\n");

          osThreadExit();
        }

        snprintf(message, sizeof(message), "Logger records=%lu, first=%lu, last=%lu\r\n", (unsigned long)loggerRecordCount, (unsigned long)firstRecord.sequence, (unsigned long)lastRecord.sequence);

        UART_Print(message);

        if ((firstRecord.magic == FLASH_RECORD_MAGIC) && (lastRecord.magic == FLASH_RECORD_MAGIC) && (lastRecord.sequence == lastWrittenSequence))
        {
          UART_Print("Logger verify: PASS\r\n");
        }
        else
        {
          UART_Print("Logger verify: FAIL\r\n");
        }

        UART_Print("Logger full. Dump is still available.\r\n");
      }
    }
    else if (loggerMessage.type == LOGGER_MESSAGE_DUMP)
    {
      Logger_DumpLatestRecords(loggerMessage.payload.dump_count);
    }
    else if (loggerMessage.type == LOGGER_MESSAGE_CLEAR)
    {
      UART_Print("Logger clear started.\r\n");

      loggingEnabled = 0U;
      loggerReady = 0U;

      status = Logger_EraseLogRegion();

      if (status != HAL_OK)
      {
        loggerBusy = 0U;
        loggerReady = 0U;

        UART_Print("Logger clear failed.\r\n");

        continue;
      }

      /*
       * Reset queued logger commands and samples.
       */
      osMessageQueueReset(loggerQueueHandle);

      writeAddress = FLASH_LOG_BASE_ADDRESS;

      loggerRecordCount = 0U;
      lastWrittenSequence = 0U;

      loggerFull = 0U;
      loggingEnabled = 0U;

      memset(&firstRecord, 0, sizeof(firstRecord));

      memset(&lastRecord, 0,sizeof(lastRecord));

      loggerReady = 1U;
      loggerBusy = 0U;

      UART_Print("Logger clear complete.\r\n");
    }
  }

  /* USER CODE END StartLoggerTask */
}

void StartCommandTask(void *argument)
{
  /* USER CODE BEGIN StartCommandTask */
  /* Infinite loop */
  uint32_t flags;

  char command[UART_COMMAND_BUFFER_SIZE];

  /*
   * Start UART byte reception.
   */
  if (HAL_UART_Receive_IT(&huart5, &uartRxByte, 1U) != HAL_OK)
  {
    UART_Print("UART RX start failed.\r\n");
  }
  else
  {
    if (resetByIWDG != 0U)
    {
      UART_Print("\r\n--- MCU RESET ---\r\nReset cause: IWDG watchdog\r\n");
    }
    else
    {
      UART_Print("\r\n--- MCU RESET ---\r\nReset cause: Power-on\r\n");
    }

    UART_Print("Commands: start, stop, status, dump N, clear, fault imu, help\r\n\r\n");
  }

  for (;;)
  {
    flags = osThreadFlagsWait(COMMAND_BUTTON_FLAG | COMMAND_UART_RX_FLAG, osFlagsWaitAny, TASK_IDLE_TIMEOUT_MS);

    /* Report task health. */
    osEventFlagsSet(systemHealthEventHandle, HEALTH_COMMAND_FLAG);

    if ((flags & osFlagsError) != 0U)
    {
      continue;
    }

    /*
     * Handle PA0.
     */
    if ((flags & COMMAND_BUTTON_FLAG) != 0U)
    {
      Command_ToggleLogging();
    }

    /*
     * Handle UART command.
     */
    if ((flags & COMMAND_UART_RX_FLAG) != 0U)
    {
      if (uartCommandReady != 0U)
      {
        strncpy(command, uartCommandBuffer, sizeof(command));

        command[UART_COMMAND_BUFFER_SIZE - 1U] = '\0';

        /*
         * Accept the next command.
         */
        uartCommandLength = 0U;
        uartCommandReady = 0U;

        Command_ProcessLine(command);
      }
    }
  }
  /* USER CODE END StartCommandTask */
}

void StartSupervisorTask(void *argument)
{
  /* USER CODE BEGIN StartSupervisorTask */
  /* Infinite loop */
  uint32_t flags;
  uint32_t currentFlags;
  uint32_t healthyCycles = 0U;

  char message[128];

  /*
   * Let all tasks finish initialization.
   */
  osDelay(1000);

  for (;;)
  {
    /*
     * Start a new health window.
     */
    osEventFlagsClear(systemHealthEventHandle, HEALTH_ALL_FLAGS);

    flags = osEventFlagsWait(systemHealthEventHandle, HEALTH_ALL_FLAGS, osFlagsWaitAll, HEALTH_WAIT_TIMEOUT_MS);

    if ((flags & osFlagsError) == 0U)
    {
      // Feed watchdog only when all tasks are healthy.
      HAL_IWDG_Refresh(&hiwdg);

      healthyCycles++;

      // Avoid excessive UART output.
      if (healthyCycles >= 5U)
      {
        healthyCycles = 0U;

        UART_Print("Health monitor: OK\r\n");
      }
    }
    else
    {
      healthyCycles = 0U;

      currentFlags = osEventFlagsGet(systemHealthEventHandle);

      snprintf(message, sizeof(message), "Health monitor: FAIL \r\nflags=0x%02lX, expected=0x%02lX\r\n", (unsigned long)currentFlags, (unsigned long)HEALTH_ALL_FLAGS);

      UART_Print(message);

      // Do not feed the watchdog.
    }

    osDelay(500);
  }
  /* USER CODE END StartSupervisorTask */
}

void HAL_TIM_PeriodElapsedCallback(TIM_HandleTypeDef *htim)
{
  if (htim->Instance == TIM6)
  {
    HAL_IncTick();
  }
}

void Error_Handler(void)
{
  __disable_irq();
  while (1)
  {
  }
}
